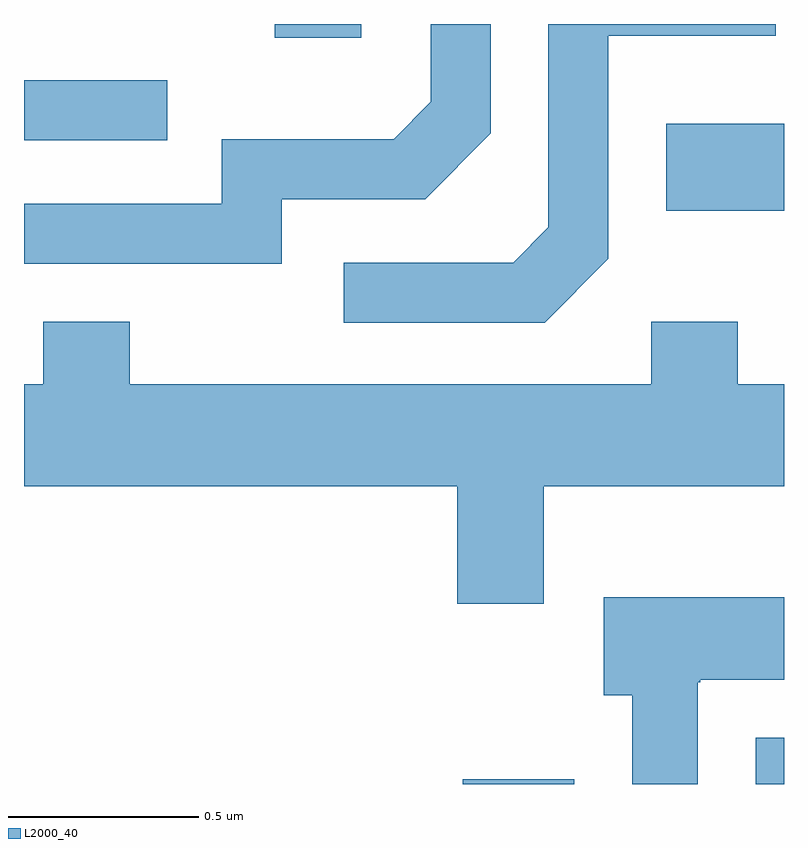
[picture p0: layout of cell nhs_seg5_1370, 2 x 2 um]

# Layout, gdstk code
import gdstk
lib = gdstk.Library(unit=1e-6, precision=1e-09)
def R(c, l, rs):  # rectangles x0, y0, x1, y1
    for r in rs: c.add(gdstk.rectangle(r[:2], r[2:], *l))
def P(c, l, *ps):  # polygons
    for p in ps: c.add(gdstk.Polygon(p, *l))
L2000_40 = (2000, 40)

nhs_seg5_1370 = lib.new_cell('nhs_seg5_1370')
R(nhs_seg5_1370, L2000_40, [(196.766,1396.072,197.059,1396.084), (197.536,1396.072,197.611,1396.194), (197.301,1397.581,197.611,1397.809), (195.611,1397.766,195.988,1397.924), (196.271,1398.036,196.499,1398.072)])
P(nhs_seg5_1370, L2000_40, [(196.289,1397.611),(196.667,1397.611),(196.839,1397.784),(196.839,1398.072),(196.681,1398.072),(196.681,1397.867),(196.584,1397.769),(196.131,1397.769),(196.131,1397.599),(195.611,1397.599),(195.611,1397.441),(196.289,1397.441)],
  [(197.149,1397.454),(197.149,1398.041),(197.589,1398.041),(197.589,1398.072),(196.991,1398.072),(196.991,1397.537),(196.899,1397.444),(196.453,1397.444),(196.453,1397.286),(196.982,1397.286)],
  [(196.979,1396.856),(197.611,1396.856),(197.611,1397.124),(197.489,1397.124),(197.489,1397.289),(197.261,1397.289),(197.261,1397.124),(195.889,1397.124),(195.889,1397.289),(195.661,1397.289),(195.661,1397.124),(195.611,1397.124),(195.611,1396.856),(196.751,1396.856),(196.751,1396.546),(196.979,1396.546)],
  [(197.384,1396.34),(197.39,1396.34),(197.39,1396.346),(197.611,1396.346),(197.611,1396.564),(197.136,1396.564),(197.136,1396.306),(197.211,1396.306),(197.211,1396.072),(197.384,1396.072)])

lib.write_gds('nhs_seg5_1370.gds')
